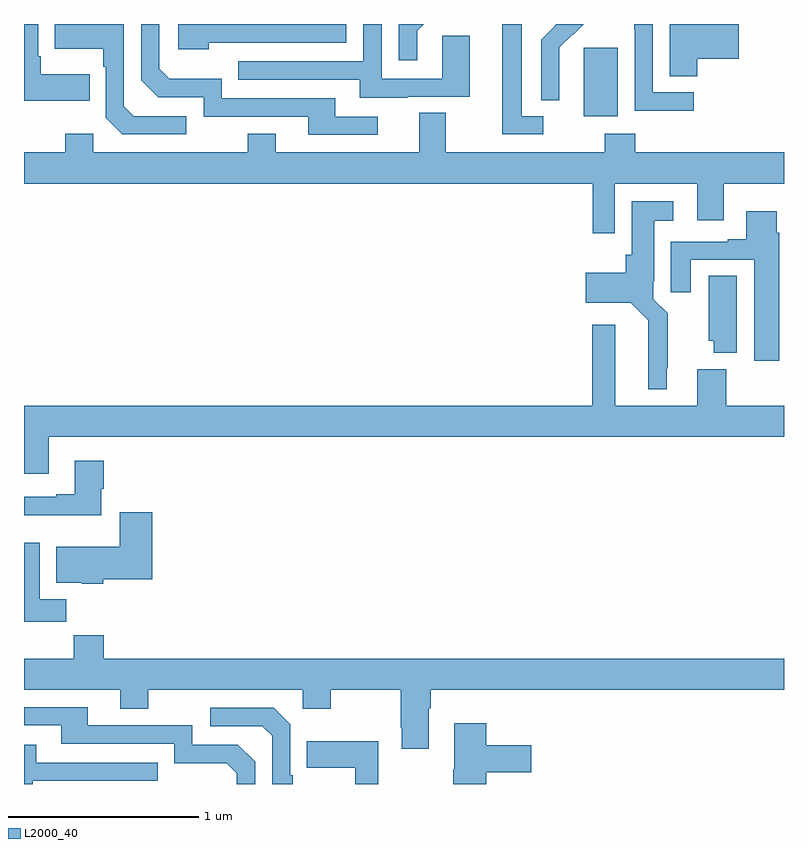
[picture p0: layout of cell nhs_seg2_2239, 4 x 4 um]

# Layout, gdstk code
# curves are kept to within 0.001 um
import gdstk
lib = gdstk.Library(unit=1e-6, precision=1e-09)
def R(c, l, rs):  # rectangles x0, y0, x1, y1
    for r in rs: c.add(gdstk.rectangle(r[:2], r[2:], *l))
def P(c, l, *ps):  # polygons
    for p in ps: c.add(gdstk.Polygon(p, *l))
L2000_40 = (2000, 40)

nhs_seg2_2239 = lib.new_cell('nhs_seg2_2239')
R(nhs_seg2_2239, L2000_40, [(229.946,657.314,230.125,657.675)])
P(nhs_seg2_2239, L2000_40, [(227.854,657.315),(227.577,657.315),(227.526,657.366),(227.526,657.8),(227.161,657.8),(227.161,657.671),(227.418,657.671),(227.418,657.575),(227.43,657.575),(227.43,657.306),(227.517,657.219),(227.854,657.219)],
  [(230.543,657.617),(230.761,657.617),(230.761,657.8),(230.399,657.8),(230.399,657.526),(230.543,657.526)],
  [(230.524,657.441),(230.31,657.441),(230.31,657.8),(230.212,657.8),(230.212,657.772),(230.214,657.772),(230.214,657.343),(230.524,657.343)],
  [(229.818,657.554),(229.817,657.554),(229.817,657.677),(229.887,657.747),(229.89,657.744),(229.946,657.8),(229.802,657.8),(229.794,657.792),(229.795,657.791),(229.722,657.718),(229.722,657.4),(229.818,657.4)],
  [(227.972,657.702),(228.696,657.702),(228.696,657.8),(228.587,657.8),(228.587,657.798),(227.811,657.798),(227.811,657.668),(227.972,657.668)],
  [(229.021,657.417),(229.345,657.417),(229.345,657.737),(229.2,657.737),(229.2,657.513),(228.882,657.513),(228.882,657.8),(228.786,657.8),(228.786,657.603),(228.127,657.603),(228.127,657.507),(228.767,657.507),(228.767,657.413),(229.021,657.413)],
  [(227.345,657.535),(227.089,657.535),(227.089,657.631),(227.076,657.631),(227.076,657.8),(227,657.8),(227,657.395),(227.345,657.395)],
  [(229.732,657.315),(229.621,657.315),(229.621,657.8),(229.517,657.8),(229.517,657.219),(229.732,657.219)],
  [(229.069,657.765),(229.104,657.8),(228.972,657.8),(228.972,657.609),(229.069,657.609)],
  [(228.862,657.312),(228.637,657.312),(228.637,657.408),(228.042,657.408),(228.042,657.511),(227.765,657.511),(227.712,657.564),(227.712,657.8),(227.616,657.8),(227.616,657.504),(227.706,657.414),(227.946,657.414),(227.946,657.312),(228.497,657.312),(228.497,657.216),(228.862,657.216)],
  [(230.109,656.96),(230.543,656.96),(230.543,656.766),(230.683,656.766),(230.683,656.96),(231,656.96),(231,657.124),(230.216,657.124),(230.216,657.223),(230.056,657.223),(230.056,657.124),(229.219,657.124),(229.219,657.332),(229.079,657.332),(229.079,657.124),(228.325,657.124),(228.325,657.223),(228.178,657.223),(228.178,657.124),(227.364,657.124),(227.364,657.223),(227.218,657.223),(227.218,657.124),(227,657.124),(227,656.96),(229.993,656.96),(229.993,656.7),(230.109,656.7)],
  [(230.383,655.987),(230.387,655.987),(230.387,656.278),(230.313,656.352),(230.313,656.446),(230.317,656.446),(230.317,656.765),(230.416,656.765),(230.416,656.866),(230.198,656.866),(230.198,656.586),(230.168,656.586),(230.168,656.491),(229.956,656.491),(229.956,656.333),(230.193,656.333),(230.286,656.24),(230.285,655.877),(230.383,655.877)],
  [(230.975,656.702),(230.962,656.702),(230.962,656.815),(230.801,656.815),(230.801,656.668),(230.705,656.668),(230.705,656.655),(230.405,656.655),(230.405,656.388),(230.509,656.388),(230.509,656.559),(230.843,656.559),(230.843,656.028),(230.975,656.028)],
  [(230.752,656.474),(230.603,656.474),(230.603,656.133),(230.63,656.133),(230.63,656.069),(230.752,656.069)],
  [(227.131,655.628),(231,655.628),(231,655.792),(230.696,655.792),(230.696,655.984),(230.543,655.984),(230.543,655.792),(230.113,655.792),(230.113,656.218),(229.991,656.218),(229.991,655.792),(227,655.792),(227,655.434),(227.131,655.434)],
  [(227.407,655.353),(227.42,655.353),(227.42,655.501),(227.267,655.501),(227.267,655.324),(227.171,655.324),(227.171,655.311),(227,655.311),(227,655.214),(227.407,655.214)],
  [(227.418,654.878),(227.675,654.878),(227.675,655.231),(227.504,655.231),(227.504,655.048),(227.171,655.048),(227.171,654.86),(227.304,654.86),(227.304,654.854),(227.418,654.854)],
  [(227.222,654.772),(227.083,654.772),(227.083,655.069),(227,655.069),(227,654.654),(227.222,654.654)],
  [(229.129,654.2),(229.142,654.2),(229.142,654.296),(231,654.296),(231,654.46),(227.42,654.46),(227.42,654.584),(227.263,654.584),(227.263,654.46),(227,654.46),(227,654.296),(227.507,654.296),(227.507,654.197),(227.655,654.197),(227.655,654.296),(228.468,654.296),(228.468,654.197),(228.615,654.197),(228.615,654.296),(228.982,654.296),(228.982,654.097),(228.989,654.097),(228.989,653.985),(229.129,653.985)],
  [(228.216,653.916),(228.126,654.006),(227.886,654.006),(227.886,654.108),(227.335,654.108),(227.335,654.204),(227,654.204),(227,654.108),(227.195,654.108),(227.195,654.012),(227.79,654.012),(227.79,653.909),(228.067,653.909),(228.12,653.856),(228.12,653.8),(228.216,653.8)],
  [(228.415,653.845),(228.402,653.845),(228.402,654.114),(228.315,654.201),(227.979,654.201),(227.979,654.105),(228.255,654.105),(228.306,654.054),(228.306,653.8),(228.415,653.8)],
  [(229.433,653.861),(229.669,653.861),(229.669,654.003),(229.433,654.003),(229.433,654.121),(229.265,654.121),(229.265,653.877),(229.258,653.877),(229.258,653.8),(229.433,653.8)],
  [(228.865,654.025),(228.487,654.025),(228.487,653.885),(228.744,653.885),(228.744,653.8),(228.865,653.8)],
  [(227.046,653.817),(227.705,653.817),(227.705,653.913),(227.065,653.913),(227.065,654.007),(227,654.007),(227,653.8),(227.046,653.8)])

lib.write_gds('nhs_seg2_2239.gds')
